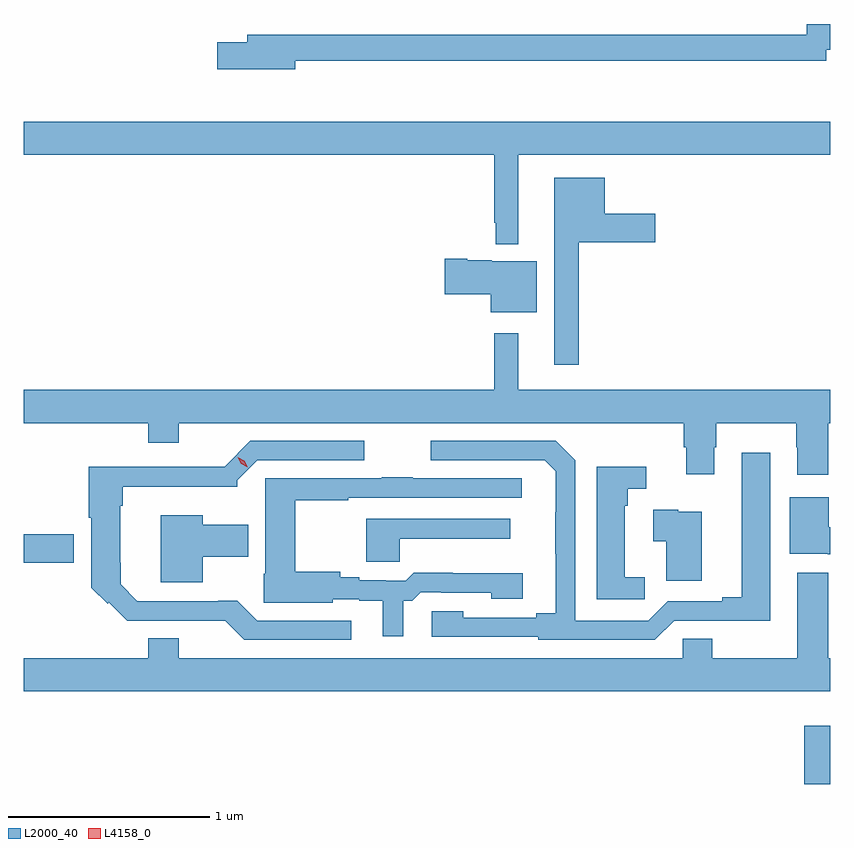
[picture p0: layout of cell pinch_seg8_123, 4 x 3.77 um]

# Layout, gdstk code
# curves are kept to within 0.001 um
import gdstk
lib = gdstk.Library(unit=1e-6, precision=1e-09)
def R(c, l, rs):  # rectangles x0, y0, x1, y1
    for r in rs: c.add(gdstk.rectangle(r[:2], r[2:], *l))
def P(c, l, *ps):  # polygons
    for p in ps: c.add(gdstk.Polygon(p, *l))
L2000_40 = (2000, 40)
L4158_0 = (4158, 0)

pinch_seg8_123 = lib.new_cell('pinch_seg8_123')
R(pinch_seg8_123, L2000_40, [(1035.382,1105.385,1035.509,1105.675), (1031.509,1106.482,1031.755,1106.624)])
P(pinch_seg8_123, L2000_40, [(1032.856,1108.974),(1035.489,1108.974),(1035.489,1109.028),(1035.509,1109.028),(1035.509,1109.156),(1035.393,1109.156),(1035.393,1109.102),(1032.617,1109.102),(1032.617,1109.066),(1032.468,1109.066),(1032.468,1108.931),(1032.856,1108.931)],
  [(1033.963,1108.508),(1035.509,1108.508),(1035.509,1108.672),(1031.509,1108.672),(1031.509,1108.508),(1033.842,1108.508),(1033.842,1108.171),(1033.849,1108.171),(1033.849,1108.064),(1033.963,1108.064)],
  [(1034.263,1108.073),(1034.641,1108.073),(1034.641,1108.215),(1034.392,1108.215),(1034.392,1108.393),(1034.141,1108.393),(1034.141,1107.465),(1034.263,1107.465)],
  [(1034.053,1107.979),(1033.83,1107.979),(1033.83,1107.985),(1033.708,1107.985),(1033.708,1107.992),(1033.596,1107.992),(1033.596,1107.814),(1033.826,1107.814),(1033.826,1107.725),(1034.053,1107.725)],
  [(1035.5,1107.176),(1035.509,1107.176),(1035.509,1107.34),(1033.963,1107.34),(1033.963,1107.622),(1033.842,1107.622),(1033.842,1107.34),(1031.509,1107.34),(1031.509,1107.176),(1032.125,1107.176),(1032.125,1107.077),(1032.277,1107.077),(1032.277,1107.176),(1034.783,1107.176),(1034.783,1107.057),(1034.795,1107.057),(1034.795,1106.922),(1034.935,1106.922),(1034.935,1107.057),(1034.943,1107.057),(1034.943,1107.176),(1035.34,1107.176),(1035.34,1107.056),(1035.347,1107.056),(1035.347,1106.919),(1035.5,1106.919)],
  [(1033.132,1106.196),(1032.666,1106.196),(1032.568,1106.295),(1032.473,1106.295),(1032.473,1106.292),(1032.072,1106.292),(1031.989,1106.376),(1031.989,1106.482),(1031.986,1106.482),(1031.986,1106.765),(1031.999,1106.765),(1031.999,1106.861),(1032.567,1106.861),(1032.567,1106.892),(1032.666,1106.991),(1033.198,1106.991),(1033.198,1107.087),(1032.633,1107.087),(1032.506,1106.96),(1032.401,1106.96),(1032.401,1106.958),(1031.831,1106.958),(1031.831,1106.707),(1031.843,1106.707),(1031.843,1106.36),(1031.924,1106.279),(1031.931,1106.287),(1032.021,1106.196),(1032.509,1106.195),(1032.603,1106.1),(1033.132,1106.1)],
  [(1034.736,1106.196),(1035.211,1106.195),(1035.211,1107.028),(1035.071,1107.028),(1035.071,1106.312),(1034.975,1106.312),(1034.975,1106.292),(1034.703,1106.292),(1034.607,1106.196),(1034.244,1106.196),(1034.244,1106.991),(1034.148,1107.087),(1033.527,1107.087),(1033.527,1106.991),(1034.094,1106.991),(1034.147,1106.938),(1034.147,1106.231),(1034.051,1106.231),(1034.051,1106.211),(1033.689,1106.211),(1033.689,1106.242),(1033.533,1106.242),(1033.533,1106.115),(1034.061,1106.115),(1034.061,1106.1),(1034.64,1106.1)],
  [(1034.59,1106.411),(1034.491,1106.411),(1034.491,1106.765),(1034.504,1106.765),(1034.504,1106.85),(1034.596,1106.85),(1034.596,1106.96),(1034.351,1106.96),(1034.351,1106.302),(1034.59,1106.302)],
  [(1033.39,1106.294),(1033.436,1106.294),(1033.479,1106.337),(1033.579,1106.337),(1033.579,1106.334),(1033.828,1106.334),(1033.828,1106.303),(1033.984,1106.303),(1033.984,1106.431),(1033.637,1106.431),(1033.637,1106.434),(1033.444,1106.434),(1033.404,1106.394),(1033.304,1106.394),(1033.304,1106.397),(1033.174,1106.397),(1033.174,1106.41),(1033.078,1106.41),(1033.078,1106.439),(1032.855,1106.439),(1032.855,1106.793),(1033.118,1106.793),(1033.118,1106.805),(1033.978,1106.805),(1033.978,1106.901),(1033.439,1106.901),(1033.439,1106.906),(1033.285,1106.906),(1033.285,1106.901),(1032.707,1106.901),(1032.707,1106.427),(1032.7,1106.427),(1032.7,1106.285),(1033.041,1106.285),(1033.041,1106.301),(1033.174,1106.301),(1033.174,1106.294),(1033.289,1106.294),(1033.289,1106.118),(1033.39,1106.118)],
  [(1035.509,1106.66),(1035.502,1106.66),(1035.502,1106.809),(1035.308,1106.809),(1035.308,1106.528),(1035.498,1106.528),(1035.498,1106.524),(1035.509,1106.524)],
  [(1034.872,1106.737),(1034.756,1106.737),(1034.756,1106.745),(1034.631,1106.745),(1034.631,1106.59),(1034.696,1106.59),(1034.696,1106.393),(1034.872,1106.393)],
  [(1032.397,1106.513),(1032.622,1106.513),(1032.622,1106.671),(1032.397,1106.671),(1032.397,1106.719),(1032.188,1106.719),(1032.188,1106.387),(1032.397,1106.387)],
  [(1033.373,1106.603),(1033.921,1106.603),(1033.921,1106.7),(1033.207,1106.7),(1033.207,1106.487),(1033.373,1106.487)],
  [(1035.509,1106.008),(1035.5,1106.008),(1035.5,1106.434),(1035.347,1106.434),(1035.347,1106.008),(1034.925,1106.008),(1034.925,1106.106),(1034.778,1106.106),(1034.778,1106.008),(1032.277,1106.008),(1032.277,1106.107),(1032.125,1106.107),(1032.125,1106.008),(1031.509,1106.008),(1031.509,1105.844),(1035.509,1105.844)])
P(pinch_seg8_123, L4158_0, [(1032.619,1106.957),(1032.587,1106.975),(1032.569,1107.006),(1032.569,1107.006),(1032.569,1107.006),(1032.601,1106.989),(1032.619,1106.957),(1032.619,1106.957)])

lib.write_gds('pinch_seg8_123.gds')
